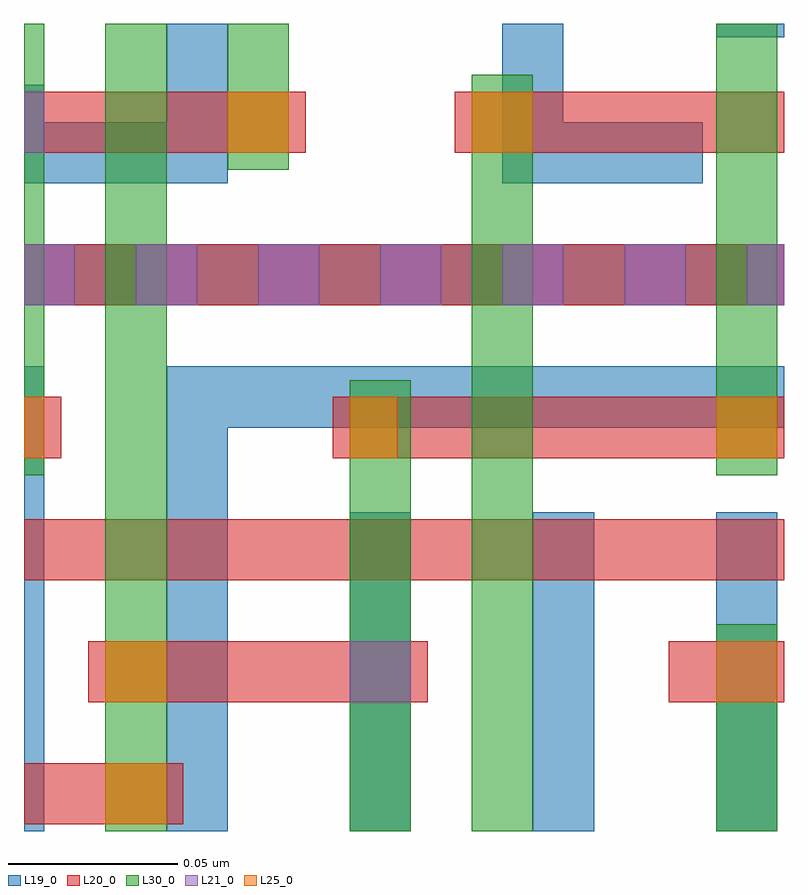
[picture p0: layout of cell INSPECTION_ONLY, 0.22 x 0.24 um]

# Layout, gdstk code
import gdstk
lib = gdstk.Library(unit=1e-6, precision=2.5e-10)
def R(c, l, rs):  # rectangles x0, y0, x1, y1
    for r in rs: c.add(gdstk.rectangle(r[:2], r[2:], *l))
def A(c, l, x, y, w, h, nx, ny, dx, dy):  # array of equal rectangles
    R(c, l, [(x+i*dx, y+j*dy, x+i*dx+w, y+j*dy+h) for i in range(nx) for j in range(ny)])
def P(c, l, *ps):  # polygons
    for p in ps: c.add(gdstk.Polygon(p, *l))
L19_0 = (19, 0)
L20_0 = (20, 0)
L21_0 = (21, 0)
L25_0 = (25, 0)
L30_0 = (30, 0)

inspection_only = lib.new_cell('INSPECTION_ONLY')
A(inspection_only, L19_0, 10.332, 6.586, 0.018, 0.094, 3, 1, 0.054, 0)
R(inspection_only, L19_0, [(10.236,6.586,10.242,6.723), (10.332,6.622,10.35,6.644), (10.44,6.622,10.458,6.644), (10.236,6.694,10.242,6.716), (10.236,6.741,10.46,6.759), (10.236,6.741,10.46,6.759), (10.236,6.741,10.26,6.759), (10.236,6.741,10.314,6.759), (10.26,6.741,10.46,6.759), (10.314,6.741,10.368,6.759), (10.368,6.741,10.46,6.759), (10.236,6.784,10.242,6.806), (10.44,6.82,10.46,6.824)])
P(inspection_only, L19_0, [(10.278,6.586),(10.278,6.723),(10.46,6.723),(10.46,6.705),(10.296,6.705),(10.296,6.586)],
  [(10.377,6.777),(10.377,6.824),(10.395,6.824),(10.395,6.795),(10.436,6.795),(10.436,6.777)],
  [(10.236,6.777),(10.236,6.795),(10.278,6.795),(10.278,6.824),(10.296,6.824),(10.296,6.777)])
R(inspection_only, L20_0, [(10.236,6.588,10.283,6.606), (10.255,6.624,10.355,6.642), (10.426,6.624,10.46,6.642), (10.236,6.66,10.46,6.678), (10.236,6.696,10.247,6.714), (10.327,6.696,10.46,6.714), (10.236,6.741,10.46,6.759), (10.236,6.786,10.319,6.804), (10.363,6.786,10.46,6.804)])
A(inspection_only, L21_0, 10.269, 6.741, 0.018, 0.018, 5, 1, 0.036, 0)
R(inspection_only, L21_0, [(10.332,6.624,10.35,6.642), (10.44,6.624,10.458,6.642), (10.236,6.696,10.242,6.714), (10.236,6.741,10.251,6.759), (10.449,6.741,10.46,6.759), (10.236,6.786,10.242,6.804)])
R(inspection_only, L25_0, [(10.26,6.588,10.278,6.606), (10.26,6.624,10.278,6.642), (10.44,6.624,10.458,6.642), (10.236,6.696,10.242,6.714), (10.332,6.696,10.346,6.714), (10.44,6.696,10.458,6.714), (10.296,6.786,10.314,6.804), (10.368,6.786,10.386,6.804)])
R(inspection_only, L30_0, [(10.26,6.586,10.278,6.824), (10.332,6.586,10.35,6.719), (10.368,6.586,10.386,6.809), (10.44,6.586,10.458,6.647), (10.236,6.691,10.242,6.824), (10.44,6.691,10.458,6.824), (10.296,6.781,10.314,6.824)])

lib.write_gds('INSPECTION_ONLY.gds')
